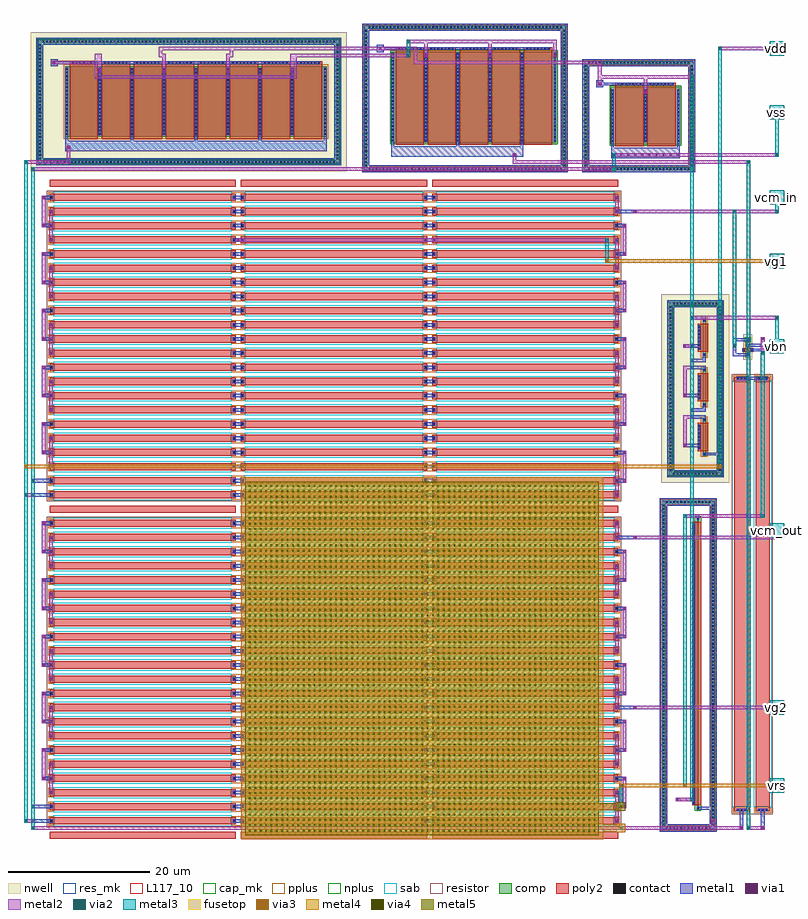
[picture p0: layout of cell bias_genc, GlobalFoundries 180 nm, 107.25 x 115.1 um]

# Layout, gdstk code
from math import pi, radians
import gdstk
lib = gdstk.Library(unit=1e-6, precision=1e-09)
def R(c, l, rs):  # rectangles x0, y0, x1, y1
    for r in rs: c.add(gdstk.rectangle(r[:2], r[2:], *l))
def A(c, l, x, y, w, h, nx, ny, dx, dy):  # array of equal rectangles
    R(c, l, [(x+i*dx, y+j*dy, x+i*dx+w, y+j*dy+h) for i in range(nx) for j in range(ny)])
nwell = (21, 0)
comp = (22, 0)
poly2 = (30, 0)
pplus = (31, 0)
nplus = (32, 0)
contact = (33, 0)
metal1 = (34, 0)
via1 = (35, 0)
metal2 = (36, 0)
via2 = (38, 0)
via3 = (40, 0)
via4 = (41, 0)
metal3 = (42, 0)
metal4 = (46, 0)
sab = (49, 0)
resistor = (62, 0)
fusetop = (75, 0)
metal5 = (81, 0)
res_mk = (110, 5)
cap_mk = (117, 5)
L117_10 = (117, 10)

bg_res_1_25 = lib.new_cell('bg_res_1_25')
R(bg_res_1_25, poly2, [(-0.64,0,25.64,1)])
R(bg_res_1_25, pplus, [(-0.82,-0.18,0,1.18), (25,-0.18,25.82,1.18)])
R(bg_res_1_25, contact, [(-0.57,0.39,-0.35,0.61), (25.35,0.39,25.57,0.61)])
R(bg_res_1_25, metal1, [(-0.65,0.309,-0.27,0.691), (25.27,0.309,25.65,0.691)])
R(bg_res_1_25, sab, [(-0.1,-0.28,25.1,1.28)])
R(bg_res_1_25, resistor, [(-1.04,-0.4,26.04,1.4)])
R(bg_res_1_25, res_mk, [(0,0,25,1)])

bg_lad_b = lib.new_cell('bg_lad_b')
A(bg_lad_b, poly2, 5.36, -2.5, 26.28, 1, 3, 2, 27, 46)
A(bg_lad_b, pplus, 31, -0.68, 2, 1.36, 1, 22, 0, 2)
A(bg_lad_b, pplus, 58, -0.68, 2, 1.36, 1, 22, 0, 2)
A(bg_lad_b, metal1, 5.29, -0.25, 0.5, 0.5, 1, 22, 0, 2)
A(bg_lad_b, metal1, 31.21, -0.25, 1.58, 0.5, 1, 22, 0, 2)
A(bg_lad_b, metal1, 58.21, -0.25, 1.58, 0.5, 1, 22, 0, 2)
A(bg_lad_b, metal1, 85.21, -0.25, 0.5, 0.5, 1, 22, 0, 2)
A(bg_lad_b, metal1, 85.21, 1.75, 1.5, 0.5, 1, 10, 0, 4)
A(bg_lad_b, metal1, 4.29, 5.75, 1.5, 0.5, 1, 10, 0, 4)
R(bg_lad_b, metal1, [(2.75,-0.25,5.79,0.25), (2.75,1.75,5.79,2.25), (85.21,15.75,88.25,16.25), (85.21,39.75,88.25,40.25)])
A(bg_lad_b, via1, 85.33, -0.13, 0.26, 0.26, 1, 11, 0, 4)
A(bg_lad_b, via1, 86.33, 1.87, 0.26, 0.26, 1, 10, 0, 4)
A(bg_lad_b, via1, 5.41, 3.87, 0.26, 0.26, 1, 10, 0, 4)
A(bg_lad_b, via1, 4.41, 5.87, 0.26, 0.26, 1, 10, 0, 4)
R(bg_lad_b, via1, [(85.33,41.87,85.59,42.13)])
A(bg_lad_b, metal2, 85.21, -0.25, 0.5, 4.5, 1, 5, 0, 8)
A(bg_lad_b, metal2, 86.21, 1.75, 0.5, 4.5, 1, 5, 0, 8)
A(bg_lad_b, metal2, 5.29, 3.75, 0.5, 4.5, 1, 5, 0, 8)
A(bg_lad_b, metal2, 4.29, 5.75, 0.5, 4.5, 1, 5, 0, 8)
R(bg_lad_b, metal2, [(85.21,39.75,85.71,42.25)])
A(bg_lad_b, resistor, 4.96, 0.89, 81.08, 0.22, 1, 21, 0, 2)
bg_lad_b.add(gdstk.Reference(bg_res_1_25, (6,-0.5)))
bg_lad_b.add(gdstk.Reference(bg_res_1_25, (33,-0.5)))
bg_lad_b.add(gdstk.Reference(bg_res_1_25, (60,-0.5)))
bg_lad_b.add(gdstk.Reference(bg_res_1_25, (6,1.5)))
bg_lad_b.add(gdstk.Reference(bg_res_1_25, (33,1.5)))
bg_lad_b.add(gdstk.Reference(bg_res_1_25, (60,1.5)))
bg_lad_b.add(gdstk.Reference(bg_res_1_25, (6,3.5)))
bg_lad_b.add(gdstk.Reference(bg_res_1_25, (33,3.5)))
bg_lad_b.add(gdstk.Reference(bg_res_1_25, (60,3.5)))
bg_lad_b.add(gdstk.Reference(bg_res_1_25, (6,5.5)))
bg_lad_b.add(gdstk.Reference(bg_res_1_25, (33,5.5)))
bg_lad_b.add(gdstk.Reference(bg_res_1_25, (60,5.5)))
bg_lad_b.add(gdstk.Reference(bg_res_1_25, (6,7.5)))
bg_lad_b.add(gdstk.Reference(bg_res_1_25, (33,7.5)))
bg_lad_b.add(gdstk.Reference(bg_res_1_25, (60,7.5)))
bg_lad_b.add(gdstk.Reference(bg_res_1_25, (6,9.5)))
bg_lad_b.add(gdstk.Reference(bg_res_1_25, (33,9.5)))
bg_lad_b.add(gdstk.Reference(bg_res_1_25, (60,9.5)))
bg_lad_b.add(gdstk.Reference(bg_res_1_25, (6,11.5)))
bg_lad_b.add(gdstk.Reference(bg_res_1_25, (33,11.5)))
bg_lad_b.add(gdstk.Reference(bg_res_1_25, (60,11.5)))
bg_lad_b.add(gdstk.Reference(bg_res_1_25, (6,13.5)))
bg_lad_b.add(gdstk.Reference(bg_res_1_25, (33,13.5)))
bg_lad_b.add(gdstk.Reference(bg_res_1_25, (60,13.5)))
bg_lad_b.add(gdstk.Reference(bg_res_1_25, (6,15.5)))
bg_lad_b.add(gdstk.Reference(bg_res_1_25, (33,15.5)))
bg_lad_b.add(gdstk.Reference(bg_res_1_25, (60,15.5)))
bg_lad_b.add(gdstk.Reference(bg_res_1_25, (6,17.5)))
bg_lad_b.add(gdstk.Reference(bg_res_1_25, (33,17.5)))
bg_lad_b.add(gdstk.Reference(bg_res_1_25, (60,17.5)))
bg_lad_b.add(gdstk.Reference(bg_res_1_25, (6,19.5)))
bg_lad_b.add(gdstk.Reference(bg_res_1_25, (33,19.5)))
bg_lad_b.add(gdstk.Reference(bg_res_1_25, (60,19.5)))
bg_lad_b.add(gdstk.Reference(bg_res_1_25, (6,21.5)))
bg_lad_b.add(gdstk.Reference(bg_res_1_25, (33,21.5)))
bg_lad_b.add(gdstk.Reference(bg_res_1_25, (60,21.5)))
bg_lad_b.add(gdstk.Reference(bg_res_1_25, (6,23.5)))
bg_lad_b.add(gdstk.Reference(bg_res_1_25, (33,23.5)))
bg_lad_b.add(gdstk.Reference(bg_res_1_25, (60,23.5)))
bg_lad_b.add(gdstk.Reference(bg_res_1_25, (6,25.5)))
bg_lad_b.add(gdstk.Reference(bg_res_1_25, (33,25.5)))
bg_lad_b.add(gdstk.Reference(bg_res_1_25, (60,25.5)))
bg_lad_b.add(gdstk.Reference(bg_res_1_25, (6,27.5)))
bg_lad_b.add(gdstk.Reference(bg_res_1_25, (33,27.5)))
bg_lad_b.add(gdstk.Reference(bg_res_1_25, (60,27.5)))
bg_lad_b.add(gdstk.Reference(bg_res_1_25, (6,29.5)))
bg_lad_b.add(gdstk.Reference(bg_res_1_25, (33,29.5)))
bg_lad_b.add(gdstk.Reference(bg_res_1_25, (60,29.5)))
bg_lad_b.add(gdstk.Reference(bg_res_1_25, (6,31.5)))
bg_lad_b.add(gdstk.Reference(bg_res_1_25, (33,31.5)))
bg_lad_b.add(gdstk.Reference(bg_res_1_25, (60,31.5)))
bg_lad_b.add(gdstk.Reference(bg_res_1_25, (6,33.5)))
bg_lad_b.add(gdstk.Reference(bg_res_1_25, (33,33.5)))
bg_lad_b.add(gdstk.Reference(bg_res_1_25, (60,33.5)))
bg_lad_b.add(gdstk.Reference(bg_res_1_25, (6,35.5)))
bg_lad_b.add(gdstk.Reference(bg_res_1_25, (33,35.5)))
bg_lad_b.add(gdstk.Reference(bg_res_1_25, (60,35.5)))
bg_lad_b.add(gdstk.Reference(bg_res_1_25, (6,37.5)))
bg_lad_b.add(gdstk.Reference(bg_res_1_25, (33,37.5)))
bg_lad_b.add(gdstk.Reference(bg_res_1_25, (60,37.5)))
bg_lad_b.add(gdstk.Reference(bg_res_1_25, (6,39.5)))
bg_lad_b.add(gdstk.Reference(bg_res_1_25, (33,39.5)))
bg_lad_b.add(gdstk.Reference(bg_res_1_25, (60,39.5)))
bg_lad_b.add(gdstk.Reference(bg_res_1_25, (6,41.5)))
bg_lad_b.add(gdstk.Reference(bg_res_1_25, (33,41.5)))
bg_lad_b.add(gdstk.Reference(bg_res_1_25, (60,41.5)))

bg_lad_a = lib.new_cell('bg_lad_a')
A(bg_lad_a, poly2, 5.36, -2.5, 26.28, 1, 3, 2, 27, 46)
A(bg_lad_a, pplus, 31, -0.68, 2, 1.36, 1, 22, 0, 2)
A(bg_lad_a, pplus, 58, -0.68, 2, 1.36, 1, 22, 0, 2)
A(bg_lad_a, metal1, 5.29, -0.25, 0.5, 0.5, 1, 22, 0, 2)
A(bg_lad_a, metal1, 31.21, -0.25, 1.58, 0.5, 1, 22, 0, 2)
A(bg_lad_a, metal1, 58.21, -0.25, 1.58, 0.5, 1, 22, 0, 2)
A(bg_lad_a, metal1, 85.21, -0.25, 0.5, 0.5, 1, 22, 0, 2)
A(bg_lad_a, metal1, 85.21, 1.75, 1.5, 0.5, 1, 10, 0, 4)
A(bg_lad_a, metal1, 4.29, 5.75, 1.5, 0.5, 1, 10, 0, 4)
R(bg_lad_a, metal1, [(2.75,-0.25,5.79,0.25), (2.75,1.75,5.79,2.25), (85.21,39.75,88.25,40.25)])
A(bg_lad_a, via1, 85.33, -0.13, 0.26, 0.26, 1, 11, 0, 4)
A(bg_lad_a, via1, 86.33, 1.87, 0.26, 0.26, 1, 10, 0, 4)
A(bg_lad_a, via1, 5.41, 3.87, 0.26, 0.26, 1, 10, 0, 4)
A(bg_lad_a, via1, 4.41, 5.87, 0.26, 0.26, 1, 10, 0, 4)
R(bg_lad_a, via1, [(85.33,41.87,85.59,42.13)])
A(bg_lad_a, metal2, 85.21, -0.25, 0.5, 4.5, 1, 5, 0, 8)
A(bg_lad_a, metal2, 86.21, 1.75, 0.5, 4.5, 1, 5, 0, 8)
A(bg_lad_a, metal2, 5.29, 3.75, 0.5, 4.5, 1, 5, 0, 8)
A(bg_lad_a, metal2, 4.29, 5.75, 0.5, 4.5, 1, 5, 0, 8)
R(bg_lad_a, metal2, [(85.21,39.75,85.71,42.25)])
A(bg_lad_a, resistor, 4.96, 0.89, 81.08, 0.22, 1, 21, 0, 2)
bg_lad_a.add(gdstk.Reference(bg_res_1_25, (6,-0.5)))
bg_lad_a.add(gdstk.Reference(bg_res_1_25, (33,-0.5)))
bg_lad_a.add(gdstk.Reference(bg_res_1_25, (60,-0.5)))
bg_lad_a.add(gdstk.Reference(bg_res_1_25, (6,1.5)))
bg_lad_a.add(gdstk.Reference(bg_res_1_25, (33,1.5)))
bg_lad_a.add(gdstk.Reference(bg_res_1_25, (60,1.5)))
bg_lad_a.add(gdstk.Reference(bg_res_1_25, (6,3.5)))
bg_lad_a.add(gdstk.Reference(bg_res_1_25, (33,3.5)))
bg_lad_a.add(gdstk.Reference(bg_res_1_25, (60,3.5)))
bg_lad_a.add(gdstk.Reference(bg_res_1_25, (6,5.5)))
bg_lad_a.add(gdstk.Reference(bg_res_1_25, (33,5.5)))
bg_lad_a.add(gdstk.Reference(bg_res_1_25, (60,5.5)))
bg_lad_a.add(gdstk.Reference(bg_res_1_25, (6,7.5)))
bg_lad_a.add(gdstk.Reference(bg_res_1_25, (33,7.5)))
bg_lad_a.add(gdstk.Reference(bg_res_1_25, (60,7.5)))
bg_lad_a.add(gdstk.Reference(bg_res_1_25, (6,9.5)))
bg_lad_a.add(gdstk.Reference(bg_res_1_25, (33,9.5)))
bg_lad_a.add(gdstk.Reference(bg_res_1_25, (60,9.5)))
bg_lad_a.add(gdstk.Reference(bg_res_1_25, (6,11.5)))
bg_lad_a.add(gdstk.Reference(bg_res_1_25, (33,11.5)))
bg_lad_a.add(gdstk.Reference(bg_res_1_25, (60,11.5)))
bg_lad_a.add(gdstk.Reference(bg_res_1_25, (6,13.5)))
bg_lad_a.add(gdstk.Reference(bg_res_1_25, (33,13.5)))
bg_lad_a.add(gdstk.Reference(bg_res_1_25, (60,13.5)))
bg_lad_a.add(gdstk.Reference(bg_res_1_25, (6,15.5)))
bg_lad_a.add(gdstk.Reference(bg_res_1_25, (33,15.5)))
bg_lad_a.add(gdstk.Reference(bg_res_1_25, (60,15.5)))
bg_lad_a.add(gdstk.Reference(bg_res_1_25, (6,17.5)))
bg_lad_a.add(gdstk.Reference(bg_res_1_25, (33,17.5)))
bg_lad_a.add(gdstk.Reference(bg_res_1_25, (60,17.5)))
bg_lad_a.add(gdstk.Reference(bg_res_1_25, (6,19.5)))
bg_lad_a.add(gdstk.Reference(bg_res_1_25, (33,19.5)))
bg_lad_a.add(gdstk.Reference(bg_res_1_25, (60,19.5)))
bg_lad_a.add(gdstk.Reference(bg_res_1_25, (6,21.5)))
bg_lad_a.add(gdstk.Reference(bg_res_1_25, (33,21.5)))
bg_lad_a.add(gdstk.Reference(bg_res_1_25, (60,21.5)))
bg_lad_a.add(gdstk.Reference(bg_res_1_25, (6,23.5)))
bg_lad_a.add(gdstk.Reference(bg_res_1_25, (33,23.5)))
bg_lad_a.add(gdstk.Reference(bg_res_1_25, (60,23.5)))
bg_lad_a.add(gdstk.Reference(bg_res_1_25, (6,25.5)))
bg_lad_a.add(gdstk.Reference(bg_res_1_25, (33,25.5)))
bg_lad_a.add(gdstk.Reference(bg_res_1_25, (60,25.5)))
bg_lad_a.add(gdstk.Reference(bg_res_1_25, (6,27.5)))
bg_lad_a.add(gdstk.Reference(bg_res_1_25, (33,27.5)))
bg_lad_a.add(gdstk.Reference(bg_res_1_25, (60,27.5)))
bg_lad_a.add(gdstk.Reference(bg_res_1_25, (6,29.5)))
bg_lad_a.add(gdstk.Reference(bg_res_1_25, (33,29.5)))
bg_lad_a.add(gdstk.Reference(bg_res_1_25, (60,29.5)))
bg_lad_a.add(gdstk.Reference(bg_res_1_25, (6,31.5)))
bg_lad_a.add(gdstk.Reference(bg_res_1_25, (33,31.5)))
bg_lad_a.add(gdstk.Reference(bg_res_1_25, (60,31.5)))
bg_lad_a.add(gdstk.Reference(bg_res_1_25, (6,33.5)))
bg_lad_a.add(gdstk.Reference(bg_res_1_25, (33,33.5)))
bg_lad_a.add(gdstk.Reference(bg_res_1_25, (60,33.5)))
bg_lad_a.add(gdstk.Reference(bg_res_1_25, (6,35.5)))
bg_lad_a.add(gdstk.Reference(bg_res_1_25, (33,35.5)))
bg_lad_a.add(gdstk.Reference(bg_res_1_25, (60,35.5)))
bg_lad_a.add(gdstk.Reference(bg_res_1_25, (6,37.5)))
bg_lad_a.add(gdstk.Reference(bg_res_1_25, (33,37.5)))
bg_lad_a.add(gdstk.Reference(bg_res_1_25, (60,37.5)))
bg_lad_a.add(gdstk.Reference(bg_res_1_25, (6,39.5)))
bg_lad_a.add(gdstk.Reference(bg_res_1_25, (33,39.5)))
bg_lad_a.add(gdstk.Reference(bg_res_1_25, (60,39.5)))
bg_lad_a.add(gdstk.Reference(bg_res_1_25, (6,41.5)))
bg_lad_a.add(gdstk.Reference(bg_res_1_25, (33,41.5)))
bg_lad_a.add(gdstk.Reference(bg_res_1_25, (60,41.5)))

bg_cap_mim__6 = lib.new_cell('bg_cap_mim__6')
A(bg_cap_mim__6, via4, 0.49, 0.49, 0.26, 0.26, 65, 65, 0.76, 0.76)
R(bg_cap_mim__6, metal4, [(-0.6,-0.6,50.485,50.485)])
R(bg_cap_mim__6, fusetop, [(0,0,49.885,49.885)])
R(bg_cap_mim__6, metal5, [(0,0,49.885,49.885)])
R(bg_cap_mim__6, cap_mk, [(-0.6,-0.6,50.485,50.485)])
R(bg_cap_mim__6, L117_10, [(0,0,49.885,0.1)])

bg_cvrs = lib.new_cell('bg_cvrs')
R(bg_cvrs, via4, [(52.87,3.87,53.13,4.13)])
R(bg_cvrs, metal4, [(52.4,0.4,53.6,1.6), (50.385,0.5,53.1,1.5), (52.4,3.4,53.6,4.6)])
R(bg_cvrs, metal5, [(52.4,3.4,53.6,4.6), (49.875,3.5,53.6,4.5)])
bg_cvrs.add(gdstk.Reference(bg_cap_mim__6, (0,0)))

bg_pfet__0 = lib.new_cell('bg_pfet__0')
R(bg_pfet__0, nwell, [(-0.9,-0.44,36.92,10.44)])
R(bg_pfet__0, comp, [(-0.46,0,0,10), (0,0,36.02,10), (36.02,0,36.48,10)])
A(bg_pfet__0, poly2, 0.19, -0.3, 4, 10.6, 8, 1, 4.52, 0)
A(bg_pfet__0, poly2, 0.19, 10.3, 4, 0.38, 8, 1, 4.52, 0)
R(bg_pfet__0, pplus, [(-0.63,-0.24,36.65,10.24)])
A(bg_pfet__0, contact, -0.34, 0.3, 0.22, 0.22, 1, 19, 0, 0.51)
A(bg_pfet__0, contact, 4.34, 0.3, 0.22, 0.22, 7, 19, 4.52, 0.51)
A(bg_pfet__0, contact, 36.14, 0.3, 0.22, 0.22, 1, 19, 0, 0.51)
A(bg_pfet__0, contact, 0.55, 10.38, 0.22, 0.22, 7, 1, 0.51, 0)
A(bg_pfet__0, contact, 5.07, 10.38, 0.22, 0.22, 7, 1, 0.51, 0)
A(bg_pfet__0, contact, 9.59, 10.38, 0.22, 0.22, 7, 1, 0.51, 0)
A(bg_pfet__0, contact, 14.11, 10.38, 0.22, 0.22, 7, 1, 0.51, 0)
A(bg_pfet__0, contact, 18.63, 10.38, 0.22, 0.22, 7, 1, 0.51, 0)
A(bg_pfet__0, contact, 23.15, 10.38, 0.22, 0.22, 7, 1, 0.51, 0)
A(bg_pfet__0, contact, 27.67, 10.38, 0.22, 0.22, 7, 1, 0.51, 0)
A(bg_pfet__0, contact, 32.19, 10.38, 0.22, 0.22, 7, 1, 0.51, 0)
A(bg_pfet__0, metal1, 4.26, 0.22, 0.38, 9.56, 7, 1, 4.52, 0)
A(bg_pfet__0, metal1, 0.47, 10.3, 3.44, 0.38, 8, 1, 4.52, 0)
R(bg_pfet__0, metal1, [(-0.42,0.22,-0.04,9.78), (36.06,0.22,36.44,9.78)])

bg_pg = lib.new_cell('bg_pg')
R(bg_pg, nwell, [(-5.3,-5.3,39.3,14.3)])
R(bg_pg, comp, [(-4.21,-4.21,-3.79,13.21), (-3.79,-4.21,37.79,-3.79), (37.79,-4.21,38.21,13.21), (-3.79,12.79,37.79,13.21)])
R(bg_pg, nplus, [(-4.37,-4.37,38.37,-3.63), (-4.37,-4.37,-3.63,13.37), (37.63,-4.37,38.37,13.37), (-4.37,12.63,38.37,13.37)])
A(bg_pg, contact, -3.61, -4.11, 0.22, 0.22, 83, 2, 0.5, 17)
A(bg_pg, contact, -4.11, -3.61, 0.22, 0.22, 1, 33, 0, 0.5)
A(bg_pg, contact, 37.89, -3.61, 0.22, 0.22, 1, 33, 0, 0.5)
A(bg_pg, metal1, 8.78, -2.49, 0.38, 2.24, 3, 1, 9.04, 0)
A(bg_pg, metal1, 4.2, 8.59, 0.5, 0.5, 4, 1, 9.04, 0)
R(bg_pg, metal1, [(-4.5,-4.5,-3.5,13.5), (-3.5,-4.5,37.5,-3.5), (37.5,-4.5,38.5,13.5), (-0.42,-2.49,-0.04,-0.25), (-0.42,-2.49,36.44,-0.99), (36.06,-2.49,36.44,-0.25), (-2.5,9.5,-1.5,10.5), (-2,9.81,0.48,10.19), (0.47,9.81,35.55,10.19), (-3.5,12.5,37.5,13.5)])
A(bg_pg, via1, 4.32, 8.71, 0.26, 0.26, 4, 1, 9.04, 0)
A(bg_pg, metal2, 4.2, 8.59, 0.5, 2.66, 4, 1, 9.04, 0)
R(bg_pg, metal2, [(3.75,10.75,4.7,11.25), (12.75,10.75,13.74,11.25), (22.28,10.75,23.25,11.25), (31.32,10.75,32.25,11.25)])
bg_pg.add(gdstk.Reference(bg_pfet__0, (0,-0.49)))

bg_nfet__1 = lib.new_cell('bg_nfet__1')
R(bg_nfet__1, comp, [(-0.42,0,0,12.8), (0,0,22.46,12.8), (22.46,0,22.88,12.8)])
A(bg_nfet__1, poly2, 0.19, -0.3, 4, 13.4, 5, 1, 4.52, 0)
A(bg_nfet__1, poly2, 0.19, 13.1, 4, 0.36, 5, 1, 4.52, 0)
R(bg_nfet__1, nplus, [(-0.59,-0.24,23.05,13.04)])
A(bg_nfet__1, contact, -0.32, 0.17, 0.22, 0.22, 1, 25, 0, 0.51)
A(bg_nfet__1, contact, 4.34, 0.17, 0.22, 0.22, 4, 25, 4.52, 0.51)
A(bg_nfet__1, contact, 22.56, 0.17, 0.22, 0.22, 1, 25, 0, 0.51)
A(bg_nfet__1, contact, 0.55, 13.17, 0.22, 0.22, 7, 1, 0.51, 0)
A(bg_nfet__1, contact, 5.07, 13.17, 0.22, 0.22, 7, 1, 0.51, 0)
A(bg_nfet__1, contact, 9.59, 13.17, 0.22, 0.22, 7, 1, 0.51, 0)
A(bg_nfet__1, contact, 14.11, 13.17, 0.22, 0.22, 7, 1, 0.51, 0)
A(bg_nfet__1, contact, 18.63, 13.17, 0.22, 0.22, 7, 1, 0.51, 0)
A(bg_nfet__1, metal1, 4.26, 0.09, 0.38, 12.62, 4, 1, 4.52, 0)
A(bg_nfet__1, metal1, 0.47, 13.09, 3.44, 0.38, 5, 1, 4.52, 0)
R(bg_nfet__1, metal1, [(-0.4,0.09,-0.02,12.71), (22.48,0.09,22.86,12.71)])

bg_n2 = lib.new_cell('bg_n2')
R(bg_n2, comp, [(-4.21,-4.21,-3.79,16.21), (-3.79,-4.21,23.79,-3.79), (23.79,-4.21,24.21,16.21), (-3.79,15.79,23.79,16.21)])
R(bg_n2, pplus, [(-4.37,-4.37,24.37,-3.63), (-4.37,-4.37,-3.63,16.37), (23.63,-4.37,24.37,16.37), (-4.37,15.63,24.37,16.37)])
A(bg_n2, contact, -3.61, -4.11, 0.22, 0.22, 55, 2, 0.5, 20)
A(bg_n2, contact, -4.11, -3.61, 0.22, 0.22, 1, 39, 0, 0.5)
A(bg_n2, contact, 23.89, -3.61, 0.22, 0.22, 1, 39, 0, 0.5)
R(bg_n2, metal1, [(-4.5,-4.5,-3.5,16.5), (-3.5,-4.5,23.5,-3.5), (23.5,-4.5,24.5,16.5), (-0.4,-2.28,-0.02,-0.17), (-0.4,-2.28,18.2,-0.78), (8.78,-2.28,9.16,-0.17), (17.82,-2.28,18.2,-0.17), (4.2,11.73,4.7,12.23), (13.24,11.73,13.74,12.23), (22.42,11.73,22.92,12.23), (-2.5,12.5,-1.5,13.5), (-2,12.81,0.48,13.19), (0.47,12.81,21.99,13.19), (-3.5,15.5,23.5,16.5)])
R(bg_n2, via1, [(4.32,11.85,4.58,12.11), (13.36,11.85,13.62,12.11), (22.54,11.85,22.8,12.11)])
R(bg_n2, metal2, [(4.2,11.73,4.7,14.25), (13.24,11.73,13.74,14.25), (22.42,11.73,22.92,14.25), (4.2,13.75,22.92,14.25)])
bg_n2.add(gdstk.Reference(bg_nfet__1, (0,-0.28)))

bg_nfet__2 = lib.new_cell('bg_nfet__2')
R(bg_nfet__2, comp, [(-0.42,0,0,8), (0,0,8.9,8), (8.9,0,9.32,8)])
R(bg_nfet__2, poly2, [(0.19,-0.3,4.19,8.3), (4.71,-0.3,8.71,8.3), (0.19,8.3,4.19,8.66), (4.71,8.3,8.71,8.66)])
R(bg_nfet__2, nplus, [(-0.59,-0.24,9.49,8.24)])
A(bg_nfet__2, contact, -0.32, 0.32, 0.22, 0.22, 3, 15, 4.66, 0.51)
A(bg_nfet__2, contact, 0.55, 8.37, 0.22, 0.22, 7, 1, 0.51, 0)
A(bg_nfet__2, contact, 5.07, 8.37, 0.22, 0.22, 7, 1, 0.51, 0)
A(bg_nfet__2, metal1, -0.4, 0.24, 0.38, 7.52, 3, 1, 4.66, 0)
R(bg_nfet__2, metal1, [(0.47,8.29,3.91,8.67), (4.99,8.29,8.43,8.67)])

bg_n1 = lib.new_cell('bg_n1')
R(bg_n1, comp, [(-4.21,-4.21,-3.79,11.21), (-3.79,-4.21,10.79,-3.79), (10.79,-4.21,11.21,11.21), (-3.79,10.79,10.79,11.21)])
R(bg_n1, pplus, [(-4.37,-4.37,11.37,-3.63), (-4.37,-4.37,-3.63,11.37), (10.63,-4.37,11.37,11.37), (-4.37,10.63,11.37,11.37)])
A(bg_n1, contact, -3.61, -4.11, 0.22, 0.22, 29, 2, 0.5, 15)
A(bg_n1, contact, -4.11, -3.61, 0.22, 0.22, 1, 29, 0, 0.5)
A(bg_n1, contact, 10.89, -3.61, 0.22, 0.22, 1, 29, 0, 0.5)
R(bg_n1, metal1, [(-4.5,-4.5,-3.5,11.5), (-3.5,-4.5,10.5,-3.5), (10.5,-4.5,11.5,11.5), (-0.4,-2.48,-0.02,-0.22), (-0.4,-2.48,9.3,-0.98), (8.92,-2.48,9.3,-0.22), (4.2,6.58,4.7,7.08), (-2.5,7.5,-1.5,8.5), (-2,7.81,0.48,8.19), (0.47,7.81,8.43,8.19), (-3.5,10.5,10.5,11.5)])
R(bg_n1, via1, [(4.32,6.7,4.58,6.96)])
R(bg_n1, metal2, [(4.2,6.58,4.7,9.25), (2.95,8.75,5.95,9.25)])
bg_n1.add(gdstk.Reference(bg_nfet__2, (0,-0.48)))

bg_nfet__5 = lib.new_cell('bg_nfet__5')
R(bg_nfet__5, comp, [(-0.42,-0.05,0,0.33), (40.38,-0.05,40.8,0.33), (0,0,40.38,0.28)])
R(bg_nfet__5, poly2, [(0.19,-0.3,40.19,0.58), (0.19,0.58,40.19,0.94)])
R(bg_nfet__5, nplus, [(-0.59,-0.29,40.97,0.57)])
A(bg_nfet__5, contact, 0.445, 0.65, 0.22, 0.22, 78, 1, 0.51, 0)
R(bg_nfet__5, contact, [(-0.32,0.03,-0.1,0.25), (40.48,0.03,40.7,0.25)])
R(bg_nfet__5, metal1, [(-0.4,-0.055,-0.02,0.335), (40.4,-0.055,40.78,0.335), (0.365,0.57,40.015,0.95)])

bg_xsr = lib.new_cell('bg_xsr')
R(bg_xsr, comp, [(-3.21,-2.21,-2.79,5.21), (-2.79,-2.21,42.79,-1.79), (42.79,-2.21,43.21,5.21), (-2.79,4.79,42.79,5.21)])
R(bg_xsr, pplus, [(-3.37,-2.37,43.37,-1.63), (-3.37,-2.37,-2.63,5.37), (42.63,-2.37,43.37,5.37), (-3.37,4.63,43.37,5.37)])
A(bg_xsr, contact, -2.61, -2.11, 0.22, 0.22, 91, 2, 0.5, 7)
A(bg_xsr, contact, -3.11, -1.61, 0.22, 0.22, 1, 13, 0, 0.5)
A(bg_xsr, contact, 42.89, -1.61, 0.22, 0.22, 1, 13, 0, 0.5)
R(bg_xsr, metal1, [(-3.5,-2.5,-2.5,5.5), (-2.5,-2.5,42.5,-1.5), (42.5,-2.5,43.5,5.5), (-0.4,-2,-0.02,-0.035), (-0.4,-0.055,-0.02,0.335), (40.4,-0.055,41.25,0.335), (40.75,-0.055,41.25,2.25), (0.75,0.93,1.25,3.25), (-2.5,4.5,42.5,5.5)])
bg_xsr.add(gdstk.Reference(bg_nfet__5, (0,0)))

bg_xsr_rot = lib.new_cell('bg_xsr_rot')
bg_xsr_rot.add(gdstk.Reference(bg_xsr, (0,0), rotation=pi/2))

bg_pfet__3 = lib.new_cell('bg_pfet__3')
R(bg_pfet__3, nwell, [(-0.9,-0.44,5.28,0.94)])
R(bg_pfet__3, comp, [(-0.46,0,0,0.5), (0,0,4.38,0.5), (4.38,0,4.84,0.5)])
R(bg_pfet__3, poly2, [(0.19,-0.3,4.19,0.8), (0.19,0.8,4.19,1.18)])
R(bg_pfet__3, pplus, [(-0.63,-0.24,5.01,0.74)])
A(bg_pfet__3, contact, 0.55, 0.88, 0.22, 0.22, 7, 1, 0.51, 0)
R(bg_pfet__3, contact, [(-0.34,0.14,-0.12,0.36), (4.5,0.14,4.72,0.36)])
R(bg_pfet__3, metal1, [(-0.42,0.055,-0.04,0.445), (4.42,0.055,4.8,0.445), (0.47,0.8,3.91,1.18)])

bg_su = lib.new_cell('bg_su')
R(bg_su, nwell, [(-4.3,-3.3,22.3,6.3)])
R(bg_su, comp, [(-3.21,-2.21,-2.79,5.21), (-2.79,-2.21,20.79,-1.79), (20.79,-2.21,21.21,5.21), (-2.79,4.79,20.79,5.21)])
R(bg_su, nplus, [(-3.37,-2.37,21.37,-1.63), (-3.37,-2.37,-2.63,5.37), (20.63,-2.37,21.37,5.37), (-3.37,4.63,21.37,5.37)])
A(bg_su, contact, -2.61, -2.11, 0.22, 0.22, 47, 2, 0.5, 7)
A(bg_su, contact, -3.11, -1.61, 0.22, 0.22, 1, 13, 0, 0.5)
A(bg_su, contact, 20.89, -1.61, 0.22, 0.22, 1, 13, 0, 0.5)
A(bg_su, metal1, 4.42, 0.055, 0.83, 0.39, 3, 1, 7, 0)
A(bg_su, metal1, 0.75, 1.16, 0.5, 2.09, 3, 1, 7, 0)
R(bg_su, metal1, [(-3.5,-2.5,-2.5,5.5), (-2.5,-2.5,20.5,-1.5), (20.5,-2.5,21.5,5.5), (-0.42,-2,-0.04,0.075), (-0.42,0.055,-0.04,0.445), (4.75,0.055,5.25,2.25), (5.75,0.055,6.25,2.25), (5.75,0.055,6.96,0.445), (11.75,0.055,12.25,2.25), (12.75,0.055,13.25,2.25), (12.75,0.055,13.96,0.445), (18.75,0.055,19.25,2.25), (-2.5,4.5,20.5,5.5)])
bg_su.add(gdstk.Reference(bg_pfet__3, (0,0)))
bg_su.add(gdstk.Reference(bg_pfet__3, (7,0)))
bg_su.add(gdstk.Reference(bg_pfet__3, (14,0)))

bg_su_rot = lib.new_cell('bg_su_rot')
bg_su_rot.add(gdstk.Reference(bg_su, (0,0), rotation=pi/2))

bg_res_2_60 = lib.new_cell('bg_res_2_60')
R(bg_res_2_60, poly2, [(-0.64,0,60.64,2)])
R(bg_res_2_60, pplus, [(-0.82,-0.18,0,2.18), (60,-0.18,60.82,2.18)])
A(bg_res_2_60, contact, -0.57, 0.38, 0.22, 0.22, 1, 3, 0, 0.51)
A(bg_res_2_60, contact, 60.35, 0.38, 0.22, 0.22, 1, 3, 0, 0.51)
R(bg_res_2_60, metal1, [(-0.65,0.3,-0.27,1.7), (60.27,0.3,60.65,1.7)])
R(bg_res_2_60, sab, [(-0.1,-0.28,60.1,2.28)])
R(bg_res_2_60, resistor, [(-1.04,-0.4,61.04,2.4)])
R(bg_res_2_60, res_mk, [(0,0,60,2)])

bg_rb_res = lib.new_cell('bg_rb_res')
R(bg_rb_res, metal1, [(64.27,0.3,64.65,4.7), (0.75,0.75,3.73,1.25), (0.75,3.75,3.73,4.25)])
R(bg_rb_res, resistor, [(2.96,2.39,65.04,2.61)])
bg_rb_res.add(gdstk.Reference(bg_res_2_60, (4,0)))
bg_rb_res.add(gdstk.Reference(bg_res_2_60, (4,3)))

bg_rb_rot = lib.new_cell('bg_rb_rot')
bg_rb_rot.add(gdstk.Reference(bg_rb_res, (0,0), rotation=pi/2))

bg_pfet__4 = lib.new_cell('bg_pfet__4')
R(bg_pfet__4, nwell, [(-0.9,-0.52,1.78,0.74)])
R(bg_pfet__4, comp, [(-0.46,-0.08,0,0.3), (0.88,-0.08,1.34,0.3), (0,0,0.88,0.22)])
R(bg_pfet__4, poly2, [(0.19,-0.68,0.69,-0.3), (0.19,-0.3,0.69,0.52), (0.19,0.52,0.69,0.9)])
R(bg_pfet__4, pplus, [(-0.63,-0.24,1.51,0.46)])
R(bg_pfet__4, contact, [(0.33,-0.6,0.55,-0.38), (-0.34,0,-0.12,0.22), (1,0,1.22,0.22), (0.33,0.6,0.55,0.82)])
R(bg_pfet__4, metal1, [(0.25,-0.685,0.63,-0.295), (-0.42,-0.085,-0.04,0.305), (0.92,-0.085,1.3,0.305), (0.25,0.515,0.63,0.905)])

bg_rep = lib.new_cell('bg_rep')
R(bg_rep, nwell, [(-0.1,-0.52,2.7,0.74)])
R(bg_rep, comp, [(1.68,-0.14,2.1,0.36)])
R(bg_rep, nplus, [(1.52,-0.3,2.26,0.52)])
R(bg_rep, contact, [(1.78,0,2,0.22)])
R(bg_rep, metal1, [(-0.25,-2.25,0.63,-1.75), (0.25,-2.25,0.63,-0.665), (0.92,-2.25,1.3,-0.065), (0.92,-2.25,2.25,-1.75), (1.68,-0.14,2.1,0.36), (-0.42,0.285,-0.04,2.25), (1.68,0.34,2.1,2.25), (-0.42,1.75,2.1,2.25)])
bg_rep.add(gdstk.Reference(bg_pfet__4, (0,0)))

bg_rep_rot = lib.new_cell('bg_rep_rot')
bg_rep_rot.add(gdstk.Reference(bg_rep, (0,0), rotation=pi/2))

bias_genc = lib.new_cell('bias_genc')
A(bias_genc, metal1, 93, 55.35, 0.5, 0.5, 1, 3, 0, 7)
A(bias_genc, metal1, 49, 94.35, 0.5, 0.5, 27, 1, 1, 0)
A(bias_genc, metal1, 80, 94.35, 0.5, 0.5, 4, 1, 1, 0)
A(bias_genc, metal1, 3, 95.35, 0.5, 0.5, 4, 1, 1, 0)
A(bias_genc, metal1, 83, 96.35, 0.5, 0.5, 10, 1, 1, 0)
R(bias_genc, metal1, [(101,1.35,101.5,1.85), (104,1.35,104.5,1.85), (1,2.35,1.5,2.85), (97,2.35,97.5,2.85), (1,4.35,1.5,4.85), (92,5.35,92.5,5.85), (86,18.35,86.5,18.85), (86,42.35,86.5,42.85), (93,45.35,93.5,45.85), (1,48.35,1.5,48.85), (1,50.35,1.5,50.85), (98,52.35,98.5,52.85), (94,59.35,94.5,59.85), (94,60.35,94.5,60.85), (94,66.35,94.5,66.85), (94,67.35,94.5,67.85), (104,68.35,104.5,68.85), (100,69.35,100.5,69.85), (104,70.35,104.5,70.85), (94,73.35,94.5,73.85), (30,84.35,30.5,84.85), (86,88.35,86.5,88.85), (69,96.35,69.5,96.85), (6,97.35,6.5,97.85), (81,106.35,81.5,106.85), (4,109.35,4.5,109.85), (50,111.35,50.5,111.85)])
A(bias_genc, via1, 93.12, 55.47, 0.26, 0.26, 1, 3, 0, 7)
A(bias_genc, via1, 49.12, 94.47, 0.26, 0.26, 27, 1, 1, 0)
A(bias_genc, via1, 80.12, 94.47, 0.26, 0.26, 4, 1, 1, 0)
A(bias_genc, via1, 3.12, 95.47, 0.26, 0.26, 4, 1, 1, 0)
A(bias_genc, via1, 83.12, 96.47, 0.26, 0.26, 10, 1, 1, 0)
R(bias_genc, via1, [(101.12,1.47,101.38,1.73), (104.12,1.47,104.38,1.73), (1.12,2.47,1.38,2.73), (97.12,2.47,97.38,2.73), (1.12,4.47,1.38,4.73), (92.12,5.47,92.38,5.73), (86.12,18.47,86.38,18.73), (86.12,42.47,86.38,42.73), (93.12,45.47,93.38,45.73), (1.12,48.47,1.38,48.73), (1.12,50.47,1.38,50.73), (98.12,52.47,98.38,52.73), (94.12,59.47,94.38,59.73), (94.12,60.47,94.38,60.73), (94.12,66.47,94.38,66.73), (94.12,67.47,94.38,67.73), (104.12,68.47,104.38,68.73), (100.12,69.47,100.38,69.73), (104.12,70.47,104.38,70.73), (94.12,73.47,94.38,73.73), (30.12,84.47,30.38,84.73), (86.12,88.47,86.38,88.73), (69.12,96.47,69.38,96.73), (6.12,97.47,6.38,97.73), (81.12,106.47,81.38,106.73), (4.12,109.47,4.38,109.73), (50.12,111.47,50.38,111.73)])
A(bias_genc, metal2, 1, 1.35, 1.5, 0.5, 100, 1, 1, 0)
A(bias_genc, metal2, 1, 1.35, 0.5, 0.5, 84, 1, 1, 0)
A(bias_genc, metal2, 84, 1.35, 0.5, 0.5, 14, 1, 1, 0)
A(bias_genc, metal2, 97, 1.35, 0.5, 0.5, 8, 1, 1, 0)
A(bias_genc, metal2, 92, 5.35, 0.5, 0.5, 3, 1, 1, 0)
A(bias_genc, metal2, 86, 18.35, 1.5, 0.5, 20, 2, 1, 24)
A(bias_genc, metal2, 86, 18.35, 0.5, 0.5, 21, 2, 1, 24)
A(bias_genc, metal2, 93, 45.35, 1.5, 0.5, 11, 1, 1, 0)
A(bias_genc, metal2, 93, 45.35, 0.5, 0.5, 12, 1, 1, 0)
A(bias_genc, metal2, 93, 55.35, 0.5, 0.5, 1, 5, 0, 1)
A(bias_genc, metal2, 93, 55.35, 0.5, 1.5, 1, 4, 0, 1)
A(bias_genc, metal2, 93, 62.35, 0.5, 0.5, 1, 5, 0, 1)
A(bias_genc, metal2, 93, 62.35, 0.5, 1.5, 1, 4, 0, 1)
A(bias_genc, metal2, 104, 68.35, 0.5, 0.5, 1, 3, 0, 1)
A(bias_genc, metal2, 94, 73.35, 1.5, 0.5, 12, 1, 1, 0)
A(bias_genc, metal2, 94, 73.35, 0.5, 0.5, 13, 1, 1, 0)
A(bias_genc, metal2, 30, 84.35, 1.5, 0.5, 52, 1, 1, 0)
A(bias_genc, metal2, 30, 84.35, 0.5, 0.5, 53, 1, 1, 0)
A(bias_genc, metal2, 86, 88.35, 1.5, 0.5, 20, 1, 1, 0)
A(bias_genc, metal2, 86, 88.35, 0.5, 0.5, 15, 1, 1, 0)
A(bias_genc, metal2, 100, 88.35, 0.5, 0.5, 7, 1, 1, 0)
A(bias_genc, metal2, 1, 94.35, 1.5, 0.5, 82, 1, 1, 0)
A(bias_genc, metal2, 1, 94.35, 0.5, 0.5, 49, 1, 1, 0)
A(bias_genc, metal2, 49, 94.35, 0.5, 0.5, 32, 1, 1, 0)
A(bias_genc, metal2, 80, 94.35, 0.5, 0.5, 4, 1, 1, 0)
A(bias_genc, metal2, 0, 95.35, 1.5, 0.5, 6, 1, 1, 0)
A(bias_genc, metal2, 0, 95.35, 0.5, 0.5, 4, 1, 1, 0)
A(bias_genc, metal2, 3, 95.35, 0.5, 0.5, 4, 1, 1, 0)
A(bias_genc, metal2, 69, 95.35, 1.5, 0.5, 33, 1, 1, 0)
A(bias_genc, metal2, 69, 95.35, 0.5, 0.5, 34, 1, 1, 0)
A(bias_genc, metal2, 83, 96.35, 1.5, 0.5, 23, 1, 1, 0)
A(bias_genc, metal2, 83, 96.35, 0.5, 0.5, 24, 1, 1, 0)
A(bias_genc, metal2, 81, 106.35, 0.5, 0.5, 1, 3, 0, 1)
A(bias_genc, metal2, 81, 106.35, 0.5, 1.5, 1, 3, 0, 1)
A(bias_genc, metal2, 10, 107.35, 1.5, 0.5, 28, 1, 1, 0)
A(bias_genc, metal2, 10, 107.35, 0.5, 0.5, 29, 1, 1, 0)
A(bias_genc, metal2, 10, 107.35, 0.5, 1.5, 1, 3, 0, 1)
A(bias_genc, metal2, 38, 107.35, 0.5, 1.5, 1, 3, 0, 1)
A(bias_genc, metal2, 81, 107.35, 1.5, 0.5, 13, 1, 1, 0)
A(bias_genc, metal2, 81, 107.35, 0.5, 0.5, 7, 1, 1, 0)
A(bias_genc, metal2, 87, 107.35, 0.5, 0.5, 8, 1, 1, 0)
A(bias_genc, metal2, 10, 108.35, 0.5, 0.5, 1, 3, 0, 1)
A(bias_genc, metal2, 38, 108.35, 0.5, 0.5, 1, 3, 0, 1)
A(bias_genc, metal2, 4, 109.35, 1.5, 0.5, 6, 1, 1, 0)
A(bias_genc, metal2, 4, 109.35, 0.5, 0.5, 7, 1, 1, 0)
A(bias_genc, metal2, 55, 109.35, 1.5, 0.5, 26, 1, 1, 0)
A(bias_genc, metal2, 55, 109.35, 0.5, 0.5, 27, 1, 1, 0)
A(bias_genc, metal2, 38, 110.35, 1.5, 0.5, 16, 1, 1, 0)
A(bias_genc, metal2, 38, 110.35, 0.5, 0.5, 18, 1, 1, 0)
A(bias_genc, metal2, 19, 111.35, 1.5, 0.5, 36, 1, 1, 0)
A(bias_genc, metal2, 19, 111.35, 0.5, 0.5, 11, 1, 1, 0)
A(bias_genc, metal2, 29, 111.35, 0.5, 0.5, 22, 1, 1, 0)
A(bias_genc, metal2, 50, 111.35, 0.5, 0.5, 6, 1, 1, 0)
A(bias_genc, metal2, 98, 111.35, 1.5, 0.5, 8, 1, 1, 0)
A(bias_genc, metal2, 98, 111.35, 0.5, 0.5, 9, 1, 1, 0)
A(bias_genc, metal2, 54, 112.35, 1.5, 0.5, 3, 1, 1, 0)
A(bias_genc, metal2, 54, 112.35, 0.5, 0.5, 4, 1, 1, 0)
R(bias_genc, metal2, [(97,1.35,97.5,2.85), (102,1.35,103.5,1.85), (103,1.35,104.5,1.85), (0,2.35,1.5,2.85), (0,2.35,0.5,2.85), (1,2.35,1.5,2.85), (97,2.35,97.5,2.85), (1,4.35,1.5,4.85), (92,5.35,93.5,5.85), (93,5.35,94.5,5.85), (93,45.35,93.5,45.85), (0,48.35,1.5,48.85), (0,48.35,0.5,48.85), (1,48.35,1.5,48.85), (1,50.35,1.5,50.85), (98,52.35,98.5,52.85), (93,59.35,94.5,59.85), (94,59.35,94.5,59.85), (94,59.35,94.5,59.85), (94,59.35,94.5,60.85), (94,60.35,94.5,60.85), (93,66.35,94.5,66.85), (94,66.35,94.5,66.85), (94,66.35,94.5,66.85), (94,66.35,94.5,67.85), (94,67.35,94.5,67.85), (104,68.35,104.5,68.85), (104,68.35,104.5,69.85), (93,69.35,94.5,69.85), (93,69.35,93.5,69.85), (94,69.35,94.5,69.85), (100,69.35,100.5,69.85), (104,69.35,104.5,70.85), (94,73.35,94.5,73.85), (6,95.35,6.5,96.85), (69,95.35,69.5,96.85), (6,96.35,6.5,96.85), (6,96.35,6.5,97.85), (69,96.35,69.5,96.85), (83,96.35,83.5,96.85), (6,97.35,6.5,97.85), (55,109.35,55.5,110.85), (19,110.35,19.5,110.85), (19,110.35,19.5,111.85), (29,110.35,29.5,110.85), (29,110.35,29.5,111.85), (55,110.35,55.5,111.85)])
R(bias_genc, via2, [(1.12,1.47,1.38,1.73), (84.12,1.47,84.38,1.73), (102.12,1.47,102.38,1.73), (0.12,2.47,0.38,2.73), (1.12,4.47,1.38,4.73), (94.12,5.47,94.38,5.73), (106.12,18.47,106.38,18.73), (106.12,42.47,106.38,42.73), (93.12,45.47,93.38,45.73), (104.12,45.47,104.38,45.73), (0.12,48.47,0.38,48.73), (1.12,50.47,1.38,50.73), (98.12,52.47,98.38,52.73), (104.12,68.47,104.38,68.73), (94.12,69.47,94.38,69.73), (100.12,69.47,100.38,69.73), (94.12,73.47,94.38,73.73), (106.12,73.47,106.38,73.73), (82.12,84.47,82.38,84.73), (100.12,88.47,100.38,88.73), (106.12,88.47,106.38,88.73), (1.12,94.47,1.38,94.73), (83.12,94.47,83.38,94.73), (0.12,95.47,0.38,95.73), (102.12,95.47,102.38,95.73), (83.12,96.47,83.38,96.73), (106.12,96.47,106.38,96.73), (94.12,107.47,94.38,107.73), (54.12,110.47,54.38,110.73), (98.12,111.47,98.38,111.73), (106.12,111.47,106.38,111.73), (54.12,112.47,54.38,112.73)])
A(bias_genc, via3, 84.12, 1.47, 0.26, 0.26, 1, 3, 0, 3)
R(bias_genc, via3, [(93.12,7.47,93.38,7.73), (106.12,7.47,106.38,7.73), (0.12,52.47,0.38,52.73), (98.12,52.47,98.38,52.73), (82.12,81.47,82.38,81.73), (106.12,81.47,106.38,81.73)])
A(bias_genc, metal3, 1, 1.35, 0.5, 1.5, 1, 93, 0, 1)
A(bias_genc, metal3, 1, 1.35, 0.5, 0.5, 1, 4, 0, 1)
A(bias_genc, metal3, 102, 1.35, 0.5, 1.5, 1, 51, 0, 1)
A(bias_genc, metal3, 102, 1.35, 0.5, 0.5, 1, 52, 0, 1)
A(bias_genc, metal3, 0, 2.35, 0.5, 1.5, 1, 93, 0, 1)
A(bias_genc, metal3, 0, 2.35, 0.5, 0.5, 1, 47, 0, 1)
A(bias_genc, metal3, 1, 4.35, 0.5, 0.5, 1, 47, 0, 1)
A(bias_genc, metal3, 84, 4.35, 0.5, 1.5, 1, 3, 0, 1)
A(bias_genc, metal3, 84, 4.35, 0.5, 0.5, 1, 4, 0, 1)
A(bias_genc, metal3, 94, 5.35, 0.5, 1.5, 1, 47, 0, 1)
A(bias_genc, metal3, 94, 5.35, 0.5, 0.5, 1, 48, 0, 1)
A(bias_genc, metal3, 93, 7.35, 0.5, 1.5, 1, 38, 0, 1)
A(bias_genc, metal3, 93, 7.35, 0.5, 0.5, 1, 39, 0, 1)
A(bias_genc, metal3, 104, 45.35, 0.5, 1.5, 1, 23, 0, 1)
A(bias_genc, metal3, 104, 45.35, 0.5, 0.5, 1, 24, 0, 1)
A(bias_genc, metal3, 0, 48.35, 0.5, 0.5, 1, 5, 0, 1)
A(bias_genc, metal3, 1, 50.35, 0.5, 0.5, 1, 45, 0, 1)
A(bias_genc, metal3, 0, 52.35, 0.5, 0.5, 1, 44, 0, 1)
A(bias_genc, metal3, 94, 52.35, 0.5, 1.5, 3, 17, 4, 1)
A(bias_genc, metal3, 94, 53.35, 0.5, 0.5, 3, 16, 4, 1)
A(bias_genc, metal3, 94, 69.35, 0.5, 1.5, 1, 19, 0, 1)
A(bias_genc, metal3, 94, 69.35, 0.5, 0.5, 1, 5, 0, 1)
A(bias_genc, metal3, 98, 69.35, 0.5, 1.5, 3, 19, 2, 1)
A(bias_genc, metal3, 98, 69.35, 0.5, 0.5, 3, 20, 2, 1)
A(bias_genc, metal3, 106, 69.35, 0.5, 1.5, 1, 4, 0, 1)
A(bias_genc, metal3, 106, 69.35, 0.5, 0.5, 1, 5, 0, 1)
A(bias_genc, metal3, 94, 73.35, 0.5, 0.5, 1, 16, 0, 1)
A(bias_genc, metal3, 82, 81.35, 0.5, 1.5, 1, 3, 0, 1)
A(bias_genc, metal3, 82, 81.35, 0.5, 0.5, 1, 4, 0, 1)
A(bias_genc, metal3, 94, 88.35, 0.5, 1.5, 4, 2, 4, 1)
A(bias_genc, metal3, 94, 89.35, 0.5, 0.5, 4, 2, 4, 1)
A(bias_genc, metal3, 94, 90.35, 0.5, 1.5, 3, 5, 4, 1)
A(bias_genc, metal3, 94, 91.35, 0.5, 0.5, 3, 5, 4, 1)
A(bias_genc, metal3, 83, 94.35, 0.5, 0.5, 1, 3, 0, 1)
A(bias_genc, metal3, 94, 95.35, 0.5, 1.5, 1, 12, 0, 1)
A(bias_genc, metal3, 98, 95.35, 0.5, 1.5, 1, 16, 0, 1)
A(bias_genc, metal3, 94, 96.35, 0.5, 0.5, 1, 12, 0, 1)
A(bias_genc, metal3, 98, 96.35, 0.5, 0.5, 1, 16, 0, 1)
A(bias_genc, metal3, 106, 96.35, 0.5, 1.5, 1, 6, 0, 1)
A(bias_genc, metal3, 106, 96.35, 0.5, 0.5, 1, 7, 0, 1)
A(bias_genc, metal3, 54, 110.35, 0.5, 0.5, 1, 3, 0, 1)
R(bias_genc, metal3, [(84,1.35,84.5,1.85), (105.25,6.6,107.25,8.6), (106,7.35,106.5,7.85), (105.25,17.6,107.25,19.6), (106,18.35,106.5,18.85), (106,42.35,106.5,43.85), (106,42.35,106.5,42.85), (105.25,42.6,107.25,44.6), (106,43.35,106.5,43.85), (98,52.35,98.5,52.85), (98,52.35,98.5,52.85), (105.25,68.6,107.25,70.6), (94,69.35,94.5,69.85), (105.25,80.6,107.25,82.6), (106,81.35,106.5,81.85), (106,88.35,106.5,88.85), (105.25,89.6,107.25,91.6), (83,94.35,83.5,95.85), (83,95.35,83.5,96.85), (105.25,101.6,107.25,103.6), (54,110.35,54.5,111.85), (105.25,110.6,107.25,112.6), (54,111.35,54.5,112.85), (106,111.35,106.5,111.85)])
A(bias_genc, metal4, 84, 7.35, 1.5, 0.5, 22, 1, 1, 0)
A(bias_genc, metal4, 84, 7.35, 0.5, 0.5, 10, 1, 1, 0)
A(bias_genc, metal4, 93, 7.35, 0.5, 0.5, 14, 1, 1, 0)
A(bias_genc, metal4, 0, 52.35, 1.5, 0.5, 98, 1, 1, 0)
A(bias_genc, metal4, 0, 52.35, 0.5, 0.5, 99, 1, 1, 0)
A(bias_genc, metal4, 82, 81.35, 1.5, 0.5, 24, 1, 1, 0)
A(bias_genc, metal4, 82, 81.35, 0.5, 0.5, 25, 1, 1, 0)
R(bias_genc, metal4, [(84,1.35,84.5,1.85), (84,4.35,84.5,4.85)])
bias_genc.add(gdstk.Reference(bg_lad_b, (-1.75,2.6)))
bias_genc.add(gdstk.Reference(bg_lad_a, (-1.75,48.6)))
bias_genc.add(gdstk.Reference(bg_cvrs, (31.25,0.6)))
bias_genc.add(gdstk.Reference(bg_pg, (6.25,99.6)))
bias_genc.add(gdstk.Reference(bg_n2, (52.25,98.6)))
bias_genc.add(gdstk.Reference(bg_n1, (83.25,98.6)))
bias_genc.add(gdstk.Reference(bg_xsr_rot, (95.25,4.6)))
bias_genc.add(gdstk.Reference(bg_su_rot, (96.25,54.6)))
bias_genc.add(gdstk.Reference(bg_rb_rot, (105.25,0.6)))
bias_genc.add(gdstk.Reference(bg_rep_rot, (102.25,68.6)))
bias_genc.add(gdstk.Label('vdd', (106.25,111.6), layer=42, texttype=10))
bias_genc.add(gdstk.Label('vss', (106.25,102.6), layer=42, texttype=10))
bias_genc.add(gdstk.Label('vcm_in', (106.25,90.6), layer=42, texttype=10))
bias_genc.add(gdstk.Label('vg1', (106.25,81.6), layer=42, texttype=10))
bias_genc.add(gdstk.Label('vbn', (106.25,69.6), layer=42, texttype=10))
bias_genc.add(gdstk.Label('vcm_out', (106.25,43.6), layer=42, texttype=10))
bias_genc.add(gdstk.Label('vg2', (106.25,18.6), layer=42, texttype=10))
bias_genc.add(gdstk.Label('vrs', (106.25,7.6), layer=42, texttype=10))

lib.write_gds('bias_genc.gds')
